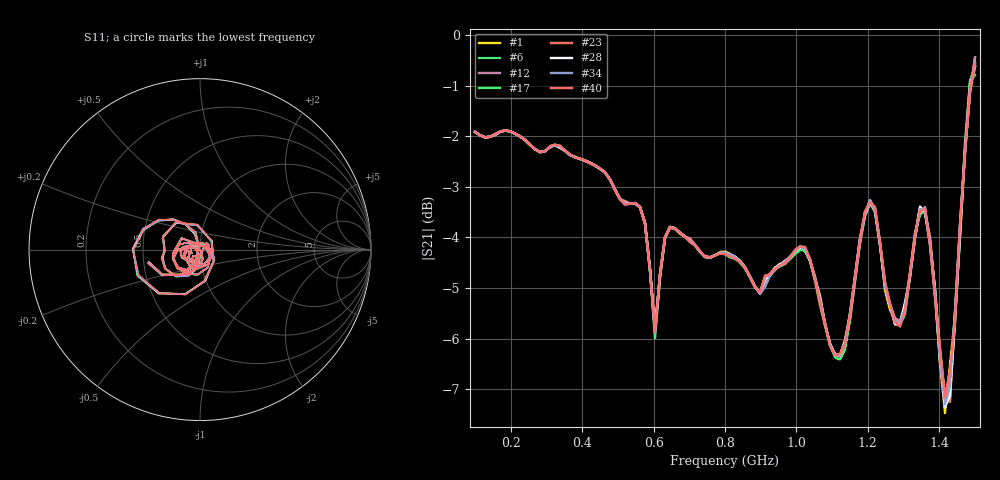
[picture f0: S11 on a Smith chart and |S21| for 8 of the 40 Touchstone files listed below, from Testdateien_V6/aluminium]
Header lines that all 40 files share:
! NanoVNA-App
! Start: 100MHz Stop: 1,5GHz Points: 101
! S-Parameter data: F S11 S21 S12 S22
# Hz S RI R 50
!  Frequency  S11_Real  S11_Imag  S21_Real  S21_Imag  S12_Real  S12_Imag  S22_Real  S22_Imag
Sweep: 100 MHz to 1.5 GHz
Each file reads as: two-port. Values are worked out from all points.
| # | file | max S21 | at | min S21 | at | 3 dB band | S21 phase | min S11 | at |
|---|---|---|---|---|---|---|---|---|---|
| 1 | aluminium (63).s2p | -0.46 dB | 1.5 GHz | -7.5 dB | 1.416 GHz | 100 MHz-562 MHz | 126 deg at 800 MHz | -38.2 dB | 870 MHz |
| 2 | aluminium (64).s2p | -0.69 dB | 1.5 GHz | -7.1 dB | 1.416 GHz | 100 MHz-562 MHz | 126 deg at 800 MHz | -38.3 dB | 870 MHz |
| 3 | aluminium (65).s2p | -0.71 dB | 1.5 GHz | -7.2 dB | 1.416 GHz | 100 MHz-562 MHz | 126 deg at 800 MHz | -37.9 dB | 870 MHz |
| 4 | aluminium (66).s2p | -0.55 dB | 1.5 GHz | -7.1 dB | 1.416 GHz | 100 MHz-562 MHz | 126 deg at 800 MHz | -37.8 dB | 674 MHz |
| 5 | aluminium (67).s2p | -0.49 dB | 1.5 GHz | -7.2 dB | 1.416 GHz | 100 MHz-562 MHz | 126 deg at 800 MHz | -38.1 dB | 674 MHz |
| 6 | aluminium (68).s2p | -0.64 dB | 1.5 GHz | -7.3 dB | 1.416 GHz | 100 MHz-562 MHz | 126 deg at 800 MHz | -37.4 dB | 870 MHz |
| 7 | aluminium (69).s2p | -0.53 dB | 1.5 GHz | -7.1 dB | 1.416 GHz | 100 MHz-562 MHz | 126 deg at 800 MHz | -37.8 dB | 674 MHz |
| 8 | aluminium (70).s2p | -0.47 dB | 1.5 GHz | -7.1 dB | 1.416 GHz | 100 MHz-562 MHz | 126 deg at 800 MHz | -39.6 dB | 1.444 GHz |
| 9 | aluminium (71).s2p | -0.44 dB | 1.5 GHz | -7.3 dB | 1.416 GHz | 100 MHz-562 MHz | 126 deg at 800 MHz | -38.2 dB | 674 MHz |
| 10 | aluminium (72).s2p | -0.59 dB | 1.5 GHz | -7.2 dB | 1.416 GHz | 100 MHz-562 MHz | 126 deg at 800 MHz | -39.3 dB | 1.444 GHz |
| 11 | aluminium (73).s2p | -0.68 dB | 1.5 GHz | -7.3 dB | 1.43 GHz | 100 MHz-562 MHz | 126 deg at 800 MHz | -37.7 dB | 674 MHz |
| 12 | aluminium (74).s2p | -0.44 dB | 1.5 GHz | -7.3 dB | 1.416 GHz | 100 MHz-562 MHz | 126 deg at 800 MHz | -39.9 dB | 1.444 GHz |
| 13 | aluminium (75).s2p | -0.51 dB | 1.5 GHz | -7.2 dB | 1.416 GHz | 100 MHz-562 MHz | 126 deg at 800 MHz | -38.4 dB | 674 MHz |
| 14 | aluminium (76).s2p | -0.51 dB | 1.5 GHz | -7.2 dB | 1.416 GHz | 100 MHz-562 MHz | 126 deg at 800 MHz | -37.9 dB | 674 MHz |
| 15 | aluminium (77).s2p | -0.66 dB | 1.5 GHz | -7.2 dB | 1.43 GHz | 100 MHz-562 MHz | 126 deg at 800 MHz | -37.6 dB | 674 MHz |
| 16 | aluminium (78).s2p | -0.64 dB | 1.5 GHz | -7.1 dB | 1.416 GHz | 100 MHz-562 MHz | 126 deg at 800 MHz | -39.2 dB | 1.444 GHz |
| 17 | aluminium (79).s2p | -0.80 dB | 1.5 GHz | -7.1 dB | 1.416 GHz | 100 MHz-576 MHz | 126 deg at 800 MHz | -37.9 dB | 674 MHz |
| 18 | aluminium (80).s2p | -0.57 dB | 1.5 GHz | -7.2 dB | 1.416 GHz | 100 MHz-562 MHz | 126 deg at 800 MHz | -38.2 dB | 674 MHz |
| 19 | aluminium (81).s2p | -0.61 dB | 1.5 GHz | -7.1 dB | 1.416 GHz | 100 MHz-562 MHz | 126 deg at 800 MHz | -37.9 dB | 674 MHz |
| 20 | aluminium (82).s2p | -0.58 dB | 1.5 GHz | -7.2 dB | 1.416 GHz | 100 MHz-562 MHz | 126 deg at 800 MHz | -37.6 dB | 870 MHz |
| 21 | aluminium (83).s2p | -0.62 dB | 1.5 GHz | -7.2 dB | 1.416 GHz | 100 MHz-562 MHz | 126 deg at 800 MHz | -37.7 dB | 870 MHz |
| 22 | aluminium (84).s2p | -0.45 dB | 1.5 GHz | -7.1 dB | 1.416 GHz | 100 MHz-562 MHz | 126 deg at 800 MHz | -38.0 dB | 870 MHz |
| 23 | aluminium (85).s2p | -0.64 dB | 1.5 GHz | -7.2 dB | 1.43 GHz | 100 MHz-562 MHz | 126 deg at 800 MHz | -38.0 dB | 674 MHz |
| 24 | aluminium (86).s2p | -0.65 dB | 1.5 GHz | -7.2 dB | 1.416 GHz | 100 MHz-562 MHz | 126 deg at 800 MHz | -38.1 dB | 870 MHz |
| 25 | aluminium (87).s2p | -0.67 dB | 1.5 GHz | -7.1 dB | 1.416 GHz | 100 MHz-562 MHz | 126 deg at 800 MHz | -38.8 dB | 1.444 GHz |
| 26 | aluminium (88).s2p | -0.68 dB | 1.5 GHz | -7.3 dB | 1.416 GHz | 100 MHz-562 MHz | 126 deg at 800 MHz | -38.0 dB | 870 MHz |
| 27 | aluminium (89).s2p | -0.58 dB | 1.5 GHz | -7.3 dB | 1.416 GHz | 100 MHz-562 MHz | 126 deg at 800 MHz | -37.7 dB | 870 MHz |
| 28 | aluminium (90).s2p | -0.61 dB | 1.5 GHz | -7.3 dB | 1.416 GHz | 100 MHz-562 MHz | 126 deg at 800 MHz | -37.9 dB | 870 MHz |
| 29 | aluminium (91).s2p | -0.52 dB | 1.5 GHz | -7.3 dB | 1.416 GHz | 100 MHz-562 MHz | 126 deg at 800 MHz | -38.1 dB | 870 MHz |
| 30 | aluminium (92).s2p | -0.55 dB | 1.5 GHz | -7.3 dB | 1.416 GHz | 100 MHz-562 MHz | 126 deg at 800 MHz | -41.5 dB | 1.444 GHz |
| 31 | aluminium (93).s2p | -0.58 dB | 1.5 GHz | -7.1 dB | 1.416 GHz | 100 MHz-562 MHz | 126 deg at 800 MHz | -37.7 dB | 870 MHz |
| 32 | aluminium (94).s2p | -0.57 dB | 1.5 GHz | -7.4 dB | 1.416 GHz | 100 MHz-562 MHz | 126 deg at 800 MHz | -38.5 dB | 1.444 GHz |
| 33 | aluminium (95).s2p | -0.69 dB | 1.5 GHz | -7.1 dB | 1.416 GHz | 100 MHz-562 MHz | 126 deg at 800 MHz | -38.4 dB | 1.444 GHz |
| 34 | aluminium (96).s2p | -0.55 dB | 1.5 GHz | -7.3 dB | 1.416 GHz | 100 MHz-562 MHz | 126 deg at 800 MHz | -37.9 dB | 674 MHz |
| 35 | aluminium (97).s2p | -0.41 dB | 1.5 GHz | -7.4 dB | 1.416 GHz | 100 MHz-562 MHz | 126 deg at 800 MHz | -40.2 dB | 1.444 GHz |
| 36 | aluminium (98).s2p | -0.51 dB | 1.5 GHz | -7.2 dB | 1.416 GHz | 100 MHz-562 MHz | 126 deg at 800 MHz | -38.1 dB | 870 MHz |
| 37 | aluminium (99).s2p | -0.64 dB | 1.5 GHz | -7.1 dB | 1.416 GHz | 100 MHz-562 MHz | 126 deg at 800 MHz | -38.1 dB | 674 MHz |
| 38 | aluminium (100).s2p | -0.54 dB | 1.5 GHz | -7.1 dB | 1.416 GHz | 100 MHz-562 MHz | 126 deg at 800 MHz | -38.2 dB | 674 MHz |
| 39 | aluminium (101).s2p | -0.52 dB | 1.5 GHz | -7.3 dB | 1.416 GHz | 100 MHz-562 MHz | 126 deg at 800 MHz | -39.6 dB | 1.444 GHz |
| 40 | aluminium (102).s2p | -0.58 dB | 1.5 GHz | -7.2 dB | 1.416 GHz | 100 MHz-562 MHz | 126 deg at 800 MHz | -40.1 dB | 1.444 GHz |
